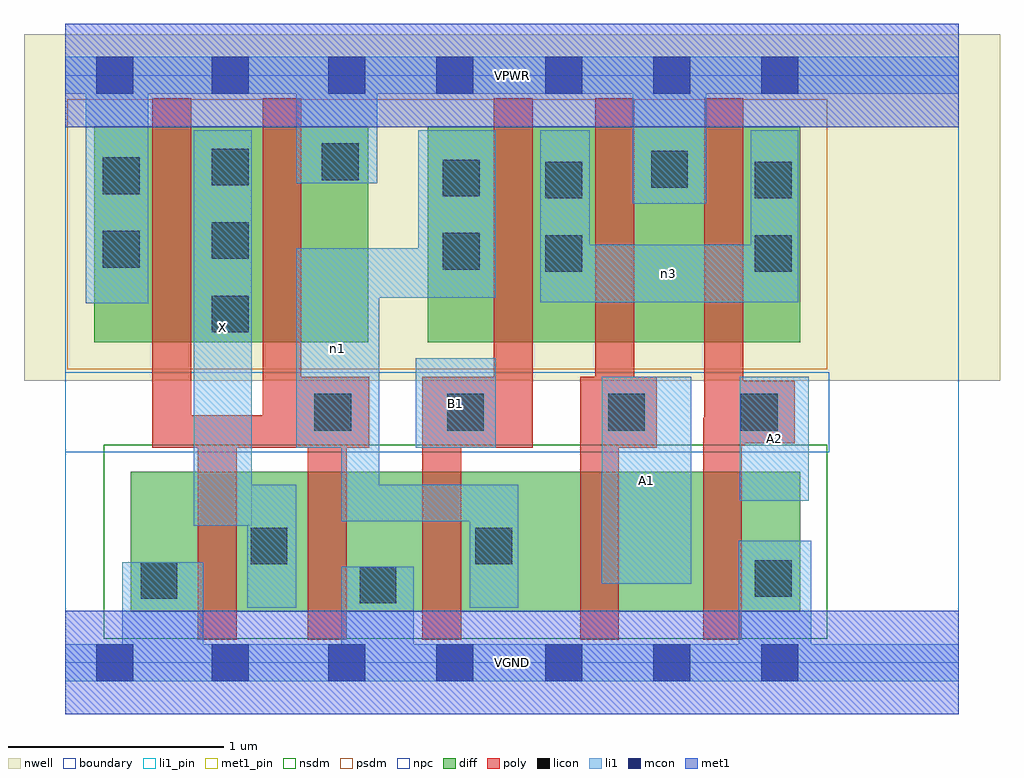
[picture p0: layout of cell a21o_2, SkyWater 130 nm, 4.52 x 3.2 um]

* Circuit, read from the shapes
.subckt a21o_2 A1 A2 B1 VGND VPWR X n1 n3
XM1 X n1 VGND VSUBS sky130_fd_pr__nfet_01v8 w=0.65 l=0.18 m=2
XM2 n1 B1 VGND VSUBS sky130_fd_pr__nfet_01v8 w=0.65 l=0.18
XM3 n2 A1 n1 VSUBS sky130_fd_pr__nfet_01v8 w=0.65 l=0.18
XM4 VGND A2 n2 VSUBS sky130_fd_pr__nfet_01v8 w=0.65 l=0.18
XM5 X n1 VPWR n4 sky130_fd_pr__pfet_01v8 w=1 l=0.18 m=2
XM6 n3 B1 n1 n4 sky130_fd_pr__pfet_01v8 w=1 l=0.18
XM7 VPWR A1 n3 n4 sky130_fd_pr__pfet_01v8 w=1 l=0.18
XM8 n3 A2 VPWR n4 sky130_fd_pr__pfet_01v8 w=1 l=0.18
.ends

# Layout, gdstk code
import gdstk
lib = gdstk.Library(unit=1e-6, precision=1e-09)
def R(c, l, rs):  # rectangles x0, y0, x1, y1
    for r in rs: c.add(gdstk.rectangle(r[:2], r[2:], *l))
def A(c, l, x, y, w, h, nx, ny, dx, dy):  # array of equal rectangles
    R(c, l, [(x+i*dx, y+j*dy, x+i*dx+w, y+j*dy+h) for i in range(nx) for j in range(ny)])
nwell = (64, 20)
diff = (65, 20)
poly = (66, 20)
licon = (66, 44)
li1_pin = (67, 16)
li1 = (67, 20)
mcon = (67, 44)
met1_pin = (68, 16)
met1 = (68, 20)
nsdm = (93, 44)
psdm = (94, 20)
npc = (95, 20)
boundary = (235, 4)

a21o_2 = lib.new_cell('a21o_2')
R(a21o_2, nwell, [(-0.19,1.305,4.33,2.91), (0,1.305,4.14,2.91)])
R(a21o_2, diff, [(0.305,0.235,3.405,0.885), (0.135,1.485,1.405,2.485), (1.68,1.485,3.405,2.485)])
R(a21o_2, poly, [(0.615,0.105,0.795,1.145), (1.125,0.105,1.305,1.325), (1.655,0.105,1.835,1.325), (2.385,0.105,2.565,1.325), (2.455,0.105,2.565,2.615), (2.955,0.105,3.135,1.135), (0.405,0.995,0.585,2.615), (0.405,0.995,1.41,1.145), (0.915,0.995,1.095,2.615), (0.915,0.995,1.41,1.325), (1.655,0.995,2.165,1.325), (1.985,0.995,2.165,2.615), (2.385,0.995,2.74,1.325), (2.565,0.995,2.635,2.615), (2.955,1.005,3.15,1.135), (2.96,1.005,3.14,2.615), (2.96,1.015,3.38,1.305)])
A(a21o_2, licon, 0.68, 1.53, 0.17, 0.17, 1, 3, 0, 0.34)
R(a21o_2, licon, [(1.365,0.275,1.535,0.445), (0.35,0.295,0.52,0.465), (3.195,0.305,3.365,0.475), (0.86,0.455,1.03,0.625), (1.9,0.455,2.07,0.625), (1.155,1.075,1.325,1.245), (1.77,1.075,1.94,1.245), (2.515,1.075,2.685,1.245), (3.13,1.075,3.3,1.245), (2.225,1.81,2.395,1.98), (3.195,1.81,3.365,1.98), (1.75,1.82,1.92,1.99), (0.175,1.83,0.345,2), (2.225,2.15,2.395,2.32), (3.195,2.15,3.365,2.32), (1.75,2.16,1.92,2.33), (0.175,2.17,0.345,2.34), (2.715,2.2,2.885,2.37), (1.19,2.235,1.36,2.405)])
R(a21o_2, li1_pin, [(2.485,0.365,2.9,1.325), (0.595,0.635,0.865,2.465), (3.125,0.75,3.445,1.325), (1.625,0.995,1.995,1.41)])
R(a21o_2, li1, [(0,-0.085,4.14,0.085), (0.265,-0.085,0.64,0.465), (1.28,-0.085,1.615,0.445), (3.12,-0.085,3.455,0.565), (0.845,0.255,1.07,0.825), (1.875,0.255,2.1,0.825), (2.485,0.365,2.9,1.325), (0.595,0.635,0.865,2.465), (1.28,0.655,2.1,0.825), (1.28,0.655,1.455,1.92), (3.125,0.75,3.445,1.325), (1.07,0.995,1.455,1.92), (1.625,0.995,1.995,1.41), (0.095,1.665,0.385,2.805), (2.2,1.67,3.395,1.935), (2.2,1.67,2.43,2.465), (3.175,1.67,3.395,2.465), (1.07,1.69,1.995,1.92), (1.635,1.69,1.995,2.465), (2.63,2.125,2.97,2.805), (1.07,2.22,1.445,2.805), (0,2.635,4.14,2.805)])
A(a21o_2, mcon, 2.225, -0.085, 0.17, 0.17, 3, 2, 0.5, 2.72)
R(a21o_2, mcon, [(0.145,-0.085,0.315,0.085), (0.68,-0.085,0.85,0.085), (1.22,-0.085,1.39,0.085), (1.72,-0.085,1.89,0.085), (0.145,2.635,0.315,2.805), (0.68,2.635,0.85,2.805), (1.22,2.635,1.39,2.805), (1.72,2.635,1.89,2.805)])
R(a21o_2, met1_pin, [(0,-0.24,4.14,0.24), (0,2.48,4.14,2.96)])
R(a21o_2, met1, [(0,-0.24,4.14,0.24), (0,2.48,4.14,2.96)])
R(a21o_2, nsdm, [(0.18,0.11,3.53,1.01)])
R(a21o_2, psdm, [(0.01,1.36,3.53,2.61)])
R(a21o_2, npc, [(0,0.975,3.54,1.345)])
R(a21o_2, boundary, [(0,0,4.14,2.72)])
a21o_2.add(gdstk.Label('A1', (2.692,0.845), layer=67, texttype=5))
a21o_2.add(gdstk.Label('A2', (3.285,1.037), layer=67, texttype=5))
a21o_2.add(gdstk.Label('B1', (1.81,1.202), layer=67, texttype=5))
a21o_2.add(gdstk.Label('X', (0.73,1.55), layer=67, texttype=5))
a21o_2.add(gdstk.Label('n1', (1.262,1.457), layer=67, texttype=5))
a21o_2.add(gdstk.Label('n3', (2.797,1.802), layer=67, texttype=5))
a21o_2.add(gdstk.Label('VPWR', (2.07,2.72), layer=68, texttype=5))
a21o_2.add(gdstk.Label('VGND', (2.07,0), layer=68, texttype=5))
a21o_2.add(gdstk.Label('A1', (2.692,0.845), layer=67, texttype=16))
a21o_2.add(gdstk.Label('A2', (3.285,1.037), layer=67, texttype=16))
a21o_2.add(gdstk.Label('B1', (1.81,1.202), layer=67, texttype=16))
a21o_2.add(gdstk.Label('X', (0.73,1.55), layer=67, texttype=16))
a21o_2.add(gdstk.Label('VPWR', (2.07,2.72), layer=68, texttype=16))
a21o_2.add(gdstk.Label('VGND', (2.07,0), layer=68, texttype=16))

lib.write_gds('a21o_2.gds')
